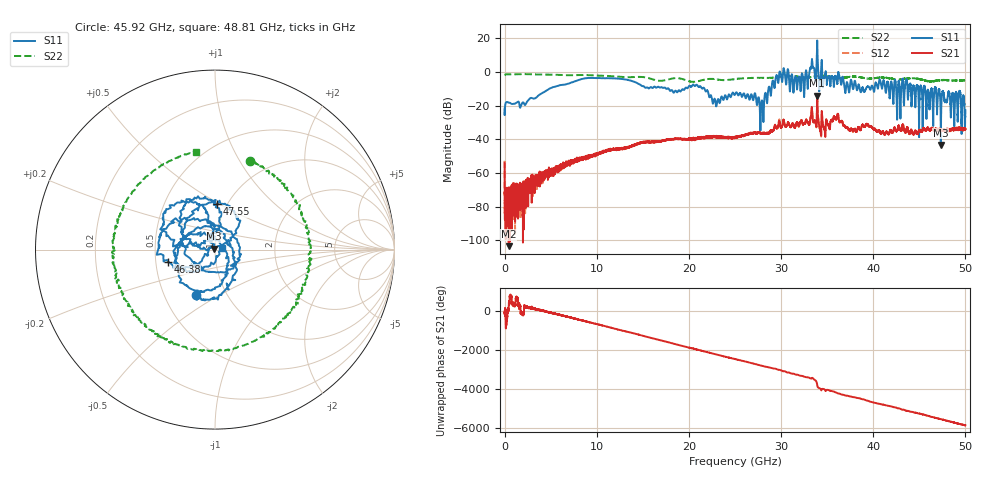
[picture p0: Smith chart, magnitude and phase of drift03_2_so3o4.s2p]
!Created with skrf (http://scikit-rf.org).
# Hz S RI R 50.0
!freq ReS11 ImS11 ReS21 ImS21 ReS12 ImS12 ReS22 ImS22
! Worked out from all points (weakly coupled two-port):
!   10001 points, 300 kHz to 50 GHz, reference 50 ohm
!   highest |S21| = -14.18 dB at 33.92 GHz (marker M1); lowest = -103.4 dB at 450.3 MHz (marker M2)
!   lowest |S11| = -43.3 dB at 47.34 GHz (marker M3), VSWR 1.01, Z = 49.6 + j0.555 ohm
!   |S11| at or under -10 dB: start of sweep to 4.851 GHz; 21.69 GHz to 28.62 GHz (6.932 GHz wide, 27.6 % of centre); 46.79 GHz to end of sweep (the widest 3 of 41)
!   |S22| runs from -5.9 to -1.3 dB; largest |S21 - S12| = 0.02
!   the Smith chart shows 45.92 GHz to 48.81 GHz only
!   S11 on the Smith chart (normalised r, x): 45.92 GHz: 0.72, -0.39; 46.38 GHz: 0.58, -0.08; 47.55 GHz: 0.90, +0.49; 48.81 GHz: 1.09, +0.02
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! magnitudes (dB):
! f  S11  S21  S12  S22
! 300 kHz  -21.8  -54.3  -52.8  -2.1
! 255.3 MHz  -17.9  -80.0  -82.6  -1.4
! 450.3 MHz  -18.2  -103.4  -73.7  -1.5
! 8.335 GHz  -4.3  -51.1  -51.4  -1.9
! 16.67 GHz  -8.8  -41.4  -41.2  -5.2
! 21.02 GHz  -8.8  -39.6  -39.3  -5.5
! 22.81 GHz  -16.2  -38.0  -38.6  -4.3
! 25 GHz  -13.4  -39.0  -38.8  -4.3
! 27.02 GHz  -16.0  -36.3  -36.3  -3.5
! 27.91 GHz  -17.1  -36.6  -36.4  -3.6
! 29.69 GHz  -6.6  -32.2  -31.6  -3.1
! 32.32 GHz  -1.5  -30.5  -30.8  -3.3
! 33.34 GHz  7.2  -20.8  -21.2  -3.0
! 33.92 GHz  18.6  -14.2  -14.5  -2.5
! 37.17 GHz  -6.3  -33.0  -33.2  -3.1
! 41.67 GHz  -9.0  -36.9  -36.9  -3.7
! 45.92 GHz  -11.3  -33.6  -33.8  -5.5
! 46.38 GHz  -11.3  -33.8  -33.7  -5.5
! 47.34 GHz  -43.3  -34.8  -34.5  -4.9
! 47.55 GHz  -11.9  -34.5  -34.5  -4.8
! 48.81 GHz  -27.5  -34.0  -33.6  -5.1
! 50 GHz  -22.8  -33.8  -34.1  -5.0
